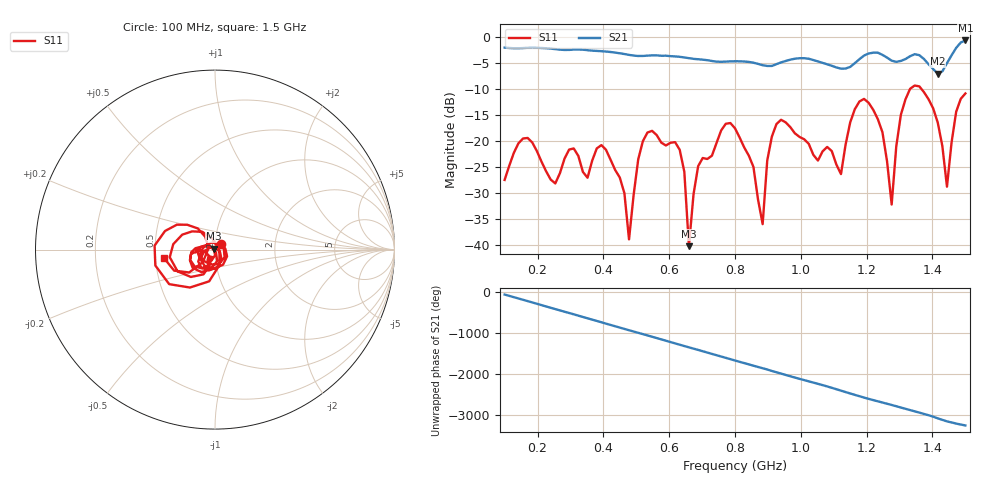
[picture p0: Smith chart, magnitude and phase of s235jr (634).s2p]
! NanoVNA-App
! Date: 2025-09-25 15:09:06
! Start: 100MHz Stop: 1,5GHz Points: 101
! S-Parameter data: F S11 S21 S12 S22
# Hz S RI R 50
!  Frequency  S11_Real  S11_Imag  S21_Real  S21_Imag  S12_Real  S12_Imag  S22_Real  S22_Imag
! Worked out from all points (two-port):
!   101 points, 100 MHz to 1.5 GHz, reference 50 ohm
!   highest |S21| = -0.59 dB at 1.5 GHz (marker M1); lowest = -7.0 dB at 1.416 GHz (marker M2)
!   |S21| within 3 dB of the highest: start of sweep to 600.1 MHz; 1.19 GHz to 1.254 GHz (63.58 MHz wide, 5.2 % of centre) (the widest 2 of 4)
!   lowest |S11| = -40.2 dB at 660 MHz (marker M3), VSWR 1.02, Z = 49.2 + j0.527 ohm
!   |S11| at or under -10 dB: start of sweep to 1.331 GHz; 1.367 GHz to end of sweep
!   S12 and S22 are empty: the file has one direction only
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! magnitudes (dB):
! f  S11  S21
! 100 MHz  -27.5  -2.0
! 170 MHz  -19.4  -2.0
! 338 MHz  -25.9  -2.4
! 408 MHz  -21.6  -2.7
! 478 MHz  -38.9  -3.4
! 520 MHz  -20.0  -3.6
! 576 MHz  -20.3  -3.5
! 632 MHz  -21.7  -3.7
! 660 MHz  -40.2  -4.0
! 688 MHz  -24.8  -4.2
! 800 MHz  -17.5  -4.6
! 884 MHz  -36.0  -5.4
! 926 MHz  -16.7  -5.2
! 1.038 GHz  -22.6  -4.4
! 1.122 GHz  -26.3  -6.0
! 1.192 GHz  -11.8  -3.5
! 1.248 GHz  -18.3  -3.4
! 1.276 GHz  -32.2  -4.5
! 1.332 GHz  -9.9  -3.6
! 1.416 GHz  -16.4  -7.0
! 1.444 GHz  -28.8  -5.0
! 1.5 GHz  -10.8  -0.6
